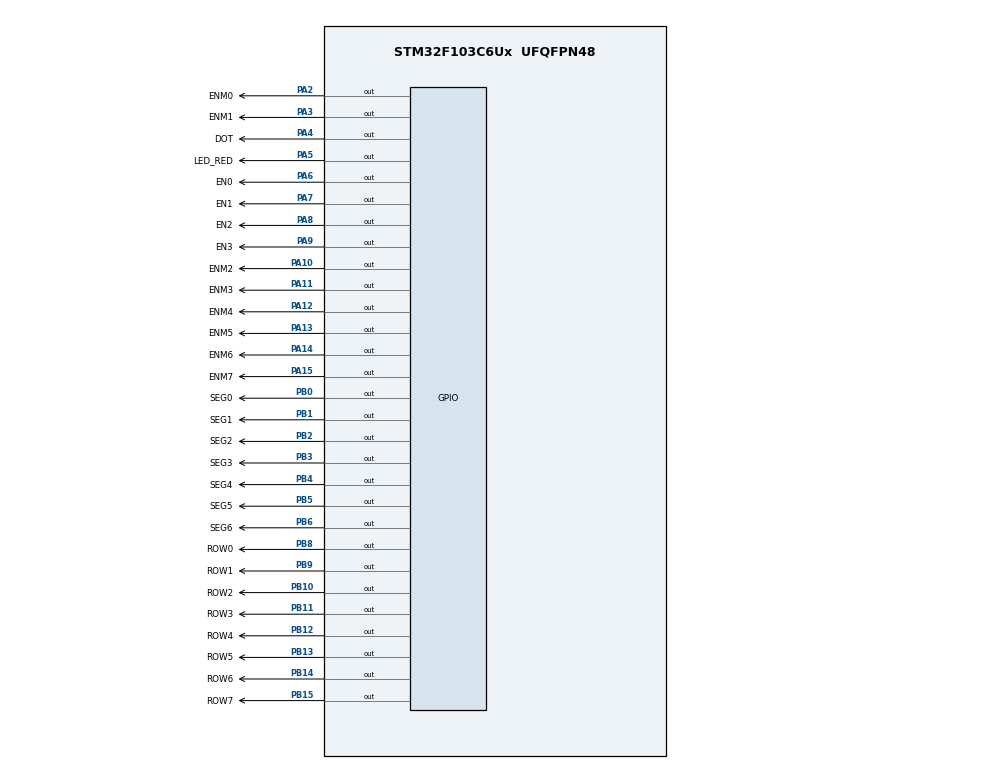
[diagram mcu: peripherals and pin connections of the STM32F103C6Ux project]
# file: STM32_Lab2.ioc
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Mcu.Family=STM32F1
Mcu.Name=STM32F103C6Ux
Mcu.Package=UFQFPN48
NVIC.PriorityGroup=NVIC_PRIORITYGROUP_4
NVIC.TIM2_IRQn=true\:0\:0\:false\:false\:true\:true\:true
PA10.GPIO_Label=ENM2
PA10.Signal=GPIO_Output
PA11.GPIO_Label=ENM3
PA11.Signal=GPIO_Output
PA12.GPIO_Label=ENM4
PA12.Signal=GPIO_Output
PA13.GPIO_Label=ENM5
PA13.Signal=GPIO_Output
PA14.GPIO_Label=ENM6
PA14.Signal=GPIO_Output
PA15.GPIO_Label=ENM7
PA15.Signal=GPIO_Output
PA2.GPIO_Label=ENM0
PA2.Signal=GPIO_Output
PA3.GPIO_Label=ENM1
PA3.Signal=GPIO_Output
PA4.GPIO_Label=DOT
PA4.Signal=GPIO_Output
PA5.GPIO_Label=LED_RED
PA5.Signal=GPIO_Output
PA6.GPIO_Label=EN0
PA6.Signal=GPIO_Output
PA7.GPIO_Label=EN1
PA7.Signal=GPIO_Output
PA8.GPIO_Label=EN2
PA8.Signal=GPIO_Output
PA9.GPIO_Label=EN3
PA9.Signal=GPIO_Output
PB0.GPIO_Label=SEG0
PB0.Signal=GPIO_Output
PB1.GPIO_Label=SEG1
PB1.Signal=GPIO_Output
PB10.GPIO_Label=ROW2
PB10.Signal=GPIO_Output
PB11.GPIO_Label=ROW3
PB11.Signal=GPIO_Output
PB12.GPIO_Label=ROW4
PB12.Signal=GPIO_Output
PB13.GPIO_Label=ROW5
PB13.Signal=GPIO_Output
PB14.GPIO_Label=ROW6
PB14.Signal=GPIO_Output
PB15.GPIO_Label=ROW7
PB15.Signal=GPIO_Output
PB2.GPIO_Label=SEG2
PB2.Signal=GPIO_Output
PB3.GPIO_Label=SEG3
PB3.Signal=GPIO_Output
PB4.GPIO_Label=SEG4
PB4.Signal=GPIO_Output
PB5.GPIO_Label=SEG5
PB5.Signal=GPIO_Output
PB6.GPIO_Label=SEG6
PB6.Signal=GPIO_Output
PB8.GPIO_Label=ROW0
PB8.Signal=GPIO_Output
PB9.GPIO_Label=ROW1
PB9.Signal=GPIO_Output
ProjectManager.HeapSize=0x200
ProjectManager.StackSize=0x400
ProjectManager.TargetToolchain=STM32CubeIDE
RCC.APB1Freq_Value=8000000
RCC.APB2Freq_Value=8000000
TIM2.Period=9
TIM2.Prescaler=7999
VP_SYS_VS_ND.Mode=No_Debug
VP_TIM2_VS_ClockSourceINT.Mode=Internal
board=custom

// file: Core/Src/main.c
/* USER CODE BEGIN Header */
/**
  ******************************************************************************
  * @file           : main.c
  * @brief          : Main program body
  ******************************************************************************
  * @attention
  *
  * <h2><center>&copy; Copyright (c) 2023 STMicroelectronics.
  * All rights reserved.</center></h2>
  *
  * This software component is licensed by ST under BSD 3-Clause license,
  * the "License"; You may not use this file except in compliance with the
  * License. You may obtain a copy of the License at:
  *                        opensource.org/licenses/BSD-3-Clause
  *
  ******************************************************************************
  */
/* USER CODE END Header */
#include "main.h"

/* USER CODE BEGIN Includes */
#include "software_timer.h"
/* USER CODE END Includes */

TIM_HandleTypeDef htim2;

void SystemClock_Config(void);
static void MX_TIM2_Init(void);
static void MX_GPIO_Init(void);
/* USER CODE BEGIN PFP */
void display7SEG(int);

/* USER CODE END PFP */

int main(void)
{
  /* USER CODE BEGIN 1 */
	setTimer(100, 0);
	setTimer(100, 1);
	setTimer(100, 2);
	setTimer(10, 3);
	setTimer(15, 4);
  /* USER CODE END 1 */

  /* MCU Configuration--------------------------------------------------------*/

  /* Reset of all peripherals, Initializes the Flash interface and the Systick. */
  HAL_Init();

  /* Configure the system clock */
  SystemClock_Config();

  /* Initialize all configured peripherals */
  MX_TIM2_Init();
  MX_GPIO_Init();
  /* USER CODE BEGIN 2 */
  HAL_TIM_Base_Start_IT(&htim2);
  const int MAX_LED = 4;
  int index_led = 0;
  int led_buffer[4] = {1 , 5 , 0 , 8};
  void update7SEG(int index)
    {
    	switch(index)
    	{
    	case 0:
    		HAL_GPIO_WritePin(GPIOA, EN0_Pin, RESET);
    		HAL_GPIO_WritePin(GPIOA, EN1_Pin, SET);
    		HAL_GPIO_WritePin(GPIOA, EN2_Pin, SET);
    		HAL_GPIO_WritePin(GPIOA, EN3_Pin, SET);
    		display7SEG(led_buffer[index]);
    		break;
    	case 1:
    		HAL_GPIO_WritePin(GPIOA, EN0_Pin, SET);
    		HAL_GPIO_WritePin(GPIOA, EN1_Pin, RESET);
    		HAL_GPIO_WritePin(GPIOA, EN2_Pin, SET);
    		HAL_GPIO_WritePin(GPIOA, EN3_Pin, SET);
    		display7SEG(led_buffer[index]);
    		break;
    	case 2:
    		HAL_GPIO_WritePin(GPIOA, EN0_Pin, SET);
    		HAL_GPIO_WritePin(GPIOA, EN1_Pin, SET);
    		HAL_GPIO_WritePin(GPIOA, EN2_Pin, RESET);
    		HAL_GPIO_WritePin(GPIOA, EN3_Pin, SET);
    		display7SEG(led_buffer[index]);
    		break;
    	case 3:
    		HAL_GPIO_WritePin(GPIOA, EN0_Pin, SET);
    		HAL_GPIO_WritePin(GPIOA, EN1_Pin, SET);
    		HAL_GPIO_WritePin(GPIOA, EN2_Pin, SET);
    		HAL_GPIO_WritePin(GPIOA, EN3_Pin, RESET);
    		display7SEG(led_buffer[index]);
    		break;
    	default:
    		break;
    	}
    }

  int hour = 15, minute = 8, second = 50;
  void updateClockBuffer()
  {
  	led_buffer[0]=hour/10;
  	led_buffer[1]=hour%10;
  	led_buffer[2]=minute/10;
  	led_buffer[3]=minute%10;
  }
  //LED Matrix
  void clearCols()
  {
	  HAL_GPIO_WritePin(GPIOA, ENM0_Pin, SET);
	  HAL_GPIO_WritePin(GPIOA, ENM1_Pin, SET);
	  HAL_GPIO_WritePin(GPIOA, ENM2_Pin, SET);
	  HAL_GPIO_WritePin(GPIOA, ENM3_Pin, SET);
	  HAL_GPIO_WritePin(GPIOA, ENM4_Pin, SET);
	  HAL_GPIO_WritePin(GPIOA, ENM5_Pin, SET);
	  HAL_GPIO_WritePin(GPIOA, ENM6_Pin, SET);
	  HAL_GPIO_WritePin(GPIOA, ENM7_Pin, SET);
  }
  void clearRows()
  {
	  HAL_GPIO_WritePin(GPIOB, ROW0_Pin, SET);
	  HAL_GPIO_WritePin(GPIOB, ROW1_Pin, SET);
	  HAL_GPIO_WritePin(GPIOB, ROW2_Pin, SET);
	  HAL_GPIO_WritePin(GPIOB, ROW3_Pin, SET);
	  HAL_GPIO_WritePin(GPIOB, ROW4_Pin, SET);
	  HAL_GPIO_WritePin(GPIOB, ROW5_Pin, SET);
	  HAL_GPIO_WritePin(GPIOB, ROW6_Pin, SET);
	  HAL_GPIO_WritePin(GPIOB, ROW7_Pin, SET);
  }
  void display_col(int num)
  {
	  HAL_GPIO_WritePin(GPIOA, ENM0_Pin, (num>>0)&0x01);
	  HAL_GPIO_WritePin(GPIOA, ENM1_Pin, (num>>0)&0x01);
	  HAL_GPIO_WritePin(GPIOA, ENM2_Pin, (num>>0)&0x01);
	  HAL_GPIO_WritePin(GPIOA, ENM3_Pin, (num>>0)&0x01);
	  HAL_GPIO_WritePin(GPIOA, ENM4_Pin, (num>>0)&0x01);
	  HAL_GPIO_WritePin(GPIOA, ENM5_Pin, (num>>0)&0x01);
	  HAL_GPIO_WritePin(GPIOA, ENM6_Pin, (num>>0)&0x01);
	  HAL_GPIO_WritePin(GPIOA, ENM7_Pin, (num>>0)&0x01);
  }
  void display_row(int num)
  {
	  HAL_GPIO_WritePin(GPIOB, ROW0_Pin, (num>>0)&0x01);
	  HAL_GPIO_WritePin(GPIOB, ROW1_Pin, (num>>0)&0x01);
	  HAL_GPIO_WritePin(GPIOB, ROW2_Pin, (num>>0)&0x01);
	  HAL_GPIO_WritePin(GPIOB, ROW3_Pin, (num>>0)&0x01);
	  HAL_GPIO_WritePin(GPIOB, ROW4_Pin, (num>>0)&0x01);
	  HAL_GPIO_WritePin(GPIOB, ROW5_Pin, (num>>0)&0x01);
	  HAL_GPIO_WritePin(GPIOB, ROW6_Pin, (num>>0)&0x01);
	  HAL_GPIO_WritePin(GPIOB, ROW7_Pin, (num>>0)&0x01);
  }
  const int MAX_LED_MATRIX = 8;
  int index_led_matrix = 0;
  uint8_t matrix_buffer[8] = {0x00, 0xFC, 0xFE, 0x33, 0x33, 0xFE, 0xFC, 0x00};
  void updateLEDMatrix(int index)
  {
	  clearCols();
	  clearRows();
	  switch(index)
	  {
	  case 0:
			HAL_GPIO_WritePin(GPIOA, ENM0_Pin, RESET);
			break;
	  case 1:
			HAL_GPIO_WritePin(GPIOA, ENM1_Pin, RESET);
			break;
	  case 2:
			HAL_GPIO_WritePin(GPIOA, ENM2_Pin, RESET);
			break;
	  case 3:
			HAL_GPIO_WritePin(GPIOA, ENM3_Pin, RESET);
			break;
	  case 4:
			HAL_GPIO_WritePin(GPIOA, ENM4_Pin, RESET);
			break;
	  case 5:
			HAL_GPIO_WritePin(GPIOA, ENM5_Pin, RESET);
			break;
	  case 6:
			HAL_GPIO_WritePin(GPIOA, ENM6_Pin, RESET);
			break;
	  case 7:
			HAL_GPIO_WritePin(GPIOA, ENM7_Pin, RESET);
			break;
	  default:
			break;
	  }
	  HAL_GPIO_WritePin(GPIOB, 0xff << 8, SET);
	  HAL_GPIO_WritePin(GPIOB, matrix_buffer[index], SET);
  }
  void shiftLeft()
  {
  	uint8_t temp = matrix_buffer[0];
  	matrix_buffer[0] = matrix_buffer[1];
  	matrix_buffer[1] = matrix_buffer[2];
  	matrix_buffer[2] = matrix_buffer[3];
  	matrix_buffer[3] = matrix_buffer[4];
  	matrix_buffer[4] = matrix_buffer[5];
  	matrix_buffer[5] = matrix_buffer[6];
  	matrix_buffer[6] = matrix_buffer[7];
  	matrix_buffer[7] = matrix_buffer[8];
  	matrix_buffer[8] = temp;
  }
  /* USER CODE END 2 */

  /* Infinite loop */
  /* USER CODE BEGIN WHILE */

  while (1)
  {
	  if (timer_flag[0] == 1)
	  {
		  HAL_GPIO_TogglePin(GPIOA, LED_RED_Pin);
		  setTimer(100, 0);
	  }
	  if (timer_flag[1] == 1)
	  {
		  update7SEG(index_led++);
		  if (index_led > 3) index_led = 0;
		  setTimer(100, 1);
	  }
	  if (timer_flag[2] == 1)
	  {
		  HAL_GPIO_TogglePin(GPIOA, DOT_Pin);
		  setTimer(100, 2);
	  }
	  if (timer_flag[3] == 1)
	  {
		  second++;
		  if(second >= 60){
			  second = 0;
			  minute++;
		  }
		  if(minute >= 60){
			  minute = 0;
			  hour++;
		  }
		  if(hour >= 24) hour = 0;
		  updateClockBuffer();
		  setTimer(10, 3);
	  }
	  if (timer_flag[4] == 1)
	  {
		  updateLEDMatrix(index_led_matrix++);
		  if (index_led_matrix == MAX_LED_MATRIX)
		  {
			  index_led_matrix = 0;
			  shiftLeft();
		  }
		  setTimer(1,4);
	  }
    /* USER CODE END WHILE */

  }
}

void SystemClock_Config(void)
{
  RCC_OscInitTypeDef RCC_OscInitStruct = {0};
  RCC_ClkInitTypeDef RCC_ClkInitStruct = {0};

  /** Initializes the RCC Oscillators according to the specified parameters
  * in the RCC_OscInitTypeDef structure.
  */
  RCC_OscInitStruct.OscillatorType = RCC_OSCILLATORTYPE_HSI;
  RCC_OscInitStruct.HSIState = RCC_HSI_ON;
  RCC_OscInitStruct.HSICalibrationValue = RCC_HSICALIBRATION_DEFAULT;
  RCC_OscInitStruct.PLL.PLLState = RCC_PLL_NONE;
  if (HAL_RCC_OscConfig(&RCC_OscInitStruct) != HAL_OK)
  {
    Error_Handler();
  }
  /** Initializes the CPU, AHB and APB buses clocks
  */
  RCC_ClkInitStruct.ClockType = RCC_CLOCKTYPE_HCLK|RCC_CLOCKTYPE_SYSCLK
                              |RCC_CLOCKTYPE_PCLK1|RCC_CLOCKTYPE_PCLK2;
  RCC_ClkInitStruct.SYSCLKSource = RCC_SYSCLKSOURCE_HSI;
  RCC_ClkInitStruct.AHBCLKDivider = RCC_SYSCLK_DIV1;
  RCC_ClkInitStruct.APB1CLKDivider = RCC_HCLK_DIV1;
  RCC_ClkInitStruct.APB2CLKDivider = RCC_HCLK_DIV1;

  if (HAL_RCC_ClockConfig(&RCC_ClkInitStruct, FLASH_LATENCY_0) != HAL_OK)
  {
    Error_Handler();
  }
}

static void MX_TIM2_Init(void)
{

  TIM_ClockConfigTypeDef sClockSourceConfig = {0};
  TIM_MasterConfigTypeDef sMasterConfig = {0};

  htim2.Instance = TIM2;
  htim2.Init.Prescaler = 7999;
  htim2.Init.CounterMode = TIM_COUNTERMODE_UP;
  htim2.Init.Period = 9;
  htim2.Init.ClockDivision = TIM_CLOCKDIVISION_DIV1;
  htim2.Init.AutoReloadPreload = TIM_AUTORELOAD_PRELOAD_DISABLE;
  if (HAL_TIM_Base_Init(&htim2) != HAL_OK)
  {
    Error_Handler();
  }
  sClockSourceConfig.ClockSource = TIM_CLOCKSOURCE_INTERNAL;
  if (HAL_TIM_ConfigClockSource(&htim2, &sClockSourceConfig) != HAL_OK)
  {
    Error_Handler();
  }
  sMasterConfig.MasterOutputTrigger = TIM_TRGO_RESET;
  sMasterConfig.MasterSlaveMode = TIM_MASTERSLAVEMODE_DISABLE;
  if (HAL_TIMEx_MasterConfigSynchronization(&htim2, &sMasterConfig) != HAL_OK)
  {
    Error_Handler();
  }

}

static void MX_GPIO_Init(void)
{
  GPIO_InitTypeDef GPIO_InitStruct = {0};

  /* GPIO Ports Clock Enable */
  __HAL_RCC_GPIOA_CLK_ENABLE();
  __HAL_RCC_GPIOB_CLK_ENABLE();

  /*Configure GPIO pin Output Level */
  HAL_GPIO_WritePin(GPIOA, DOT_Pin|LED_RED_Pin|EN0_Pin|EN1_Pin
                          |EN2_Pin|EN3_Pin, GPIO_PIN_RESET);

  /*Configure GPIO pin Output Level */
  HAL_GPIO_WritePin(GPIOB, SEG0_Pin|SEG1_Pin|SEG2_Pin|SEG3_Pin
                          |SEG4_Pin|SEG5_Pin|SEG6_Pin, GPIO_PIN_RESET);

  /*Configure GPIO pins : DOT_Pin LED_RED_Pin EN0_Pin EN1_Pin
                           EN2_Pin EN3_Pin */
  GPIO_InitStruct.Pin = DOT_Pin|LED_RED_Pin|EN0_Pin|EN1_Pin
                          |EN2_Pin|EN3_Pin;
  GPIO_InitStruct.Mode = GPIO_MODE_OUTPUT_PP;
  GPIO_InitStruct.Pull = GPIO_NOPULL;
  GPIO_InitStruct.Speed = GPIO_SPEED_FREQ_LOW;
  HAL_GPIO_Init(GPIOA, &GPIO_InitStruct);

  /*Configure GPIO pins : SEG0_Pin SEG1_Pin SEG2_Pin SEG3_Pin
                           SEG4_Pin SEG5_Pin SEG6_Pin */
  GPIO_InitStruct.Pin = SEG0_Pin|SEG1_Pin|SEG2_Pin|SEG3_Pin
                          |SEG4_Pin|SEG5_Pin|SEG6_Pin;
  GPIO_InitStruct.Mode = GPIO_MODE_OUTPUT_PP;
  GPIO_InitStruct.Pull = GPIO_NOPULL;
  GPIO_InitStruct.Speed = GPIO_SPEED_FREQ_LOW;
  HAL_GPIO_Init(GPIOB, &GPIO_InitStruct);

}

/* USER CODE BEGIN 4 */
void HAL_TIM_PeriodElapsedCallback(TIM_HandleTypeDef *htim)
{
	timerRun(0); // LED_RED
	timerRun(1); // 7-segment
	timerRun(2); // DOT
	timerRun(3); //clock display
	timerRun(4); //LED matrix
}

void display7SEG(int counter)
{
	if (counter == 0)
	{
		HAL_GPIO_WritePin(SEG0_GPIO_Port, SEG0_Pin, GPIO_PIN_RESET);
		HAL_GPIO_WritePin(SEG1_GPIO_Port, SEG1_Pin, GPIO_PIN_RESET);
		HAL_GPIO_WritePin(SEG2_GPIO_Port, SEG2_Pin, GPIO_PIN_RESET);
		HAL_GPIO_WritePin(SEG3_GPIO_Port, SEG3_Pin, GPIO_PIN_RESET);
		HAL_GPIO_WritePin(SEG4_GPIO_Port, SEG4_Pin, GPIO_PIN_RESET);
		HAL_GPIO_WritePin(SEG5_GPIO_Port, SEG5_Pin, GPIO_PIN_RESET);
		HAL_GPIO_WritePin(SEG6_GPIO_Port, SEG6_Pin, GPIO_PIN_SET);
	}
	else if (counter == 1)
	{
		HAL_GPIO_WritePin(SEG0_GPIO_Port, SEG0_Pin, GPIO_PIN_SET);
		HAL_GPIO_WritePin(SEG1_GPIO_Port, SEG1_Pin, GPIO_PIN_RESET);
		HAL_GPIO_WritePin(SEG2_GPIO_Port, SEG2_Pin, GPIO_PIN_RESET);
		HAL_GPIO_WritePin(SEG3_GPIO_Port, SEG3_Pin, GPIO_PIN_SET);
		HAL_GPIO_WritePin(SEG4_GPIO_Port, SEG4_Pin, GPIO_PIN_SET);
		HAL_GPIO_WritePin(SEG5_GPIO_Port, SEG5_Pin, GPIO_PIN_SET);
		HAL_GPIO_WritePin(SEG6_GPIO_Port, SEG6_Pin, GPIO_PIN_SET);
	}
	else if (counter == 2)
	{
		HAL_GPIO_WritePin(SEG0_GPIO_Port, SEG0_Pin, GPIO_PIN_RESET);
		HAL_GPIO_WritePin(SEG1_GPIO_Port, SEG1_Pin, GPIO_PIN_RESET);
		HAL_GPIO_WritePin(SEG2_GPIO_Port, SEG2_Pin, GPIO_PIN_SET);
		HAL_GPIO_WritePin(SEG3_GPIO_Port, SEG3_Pin, GPIO_PIN_RESET);
		HAL_GPIO_WritePin(SEG4_GPIO_Port, SEG4_Pin, GPIO_PIN_RESET);
		HAL_GPIO_WritePin(SEG5_GPIO_Port, SEG5_Pin, GPIO_PIN_SET);
		HAL_GPIO_WritePin(SEG6_GPIO_Port, SEG6_Pin, GPIO_PIN_RESET);
	}
	else if (counter == 3)
	{
		HAL_GPIO_WritePin(SEG0_GPIO_Port, SEG0_Pin, GPIO_PIN_RESET);
		HAL_GPIO_WritePin(SEG1_GPIO_Port, SEG1_Pin, GPIO_PIN_RESET);
		HAL_GPIO_WritePin(SEG2_GPIO_Port, SEG2_Pin, GPIO_PIN_RESET);
		HAL_GPIO_WritePin(SEG3_GPIO_Port, SEG3_Pin, GPIO_PIN_RESET);
		HAL_GPIO_WritePin(SEG4_GPIO_Port, SEG4_Pin, GPIO_PIN_SET);
		HAL_GPIO_WritePin(SEG5_GPIO_Port, SEG5_Pin, GPIO_PIN_SET);
		HAL_GPIO_WritePin(SEG6_GPIO_Port, SEG6_Pin, GPIO_PIN_RESET);
	}
	else if (counter == 4)
	{
		HAL_GPIO_WritePin(SEG0_GPIO_Port, SEG0_Pin, GPIO_PIN_SET);
		HAL_GPIO_WritePin(SEG1_GPIO_Port, SEG1_Pin, GPIO_PIN_RESET);
		HAL_GPIO_WritePin(SEG2_GPIO_Port, SEG2_Pin, GPIO_PIN_RESET);
		HAL_GPIO_WritePin(SEG3_GPIO_Port, SEG3_Pin, GPIO_PIN_SET);
		HAL_GPIO_WritePin(SEG4_GPIO_Port, SEG4_Pin, GPIO_PIN_SET);
		HAL_GPIO_WritePin(SEG5_GPIO_Port, SEG5_Pin, GPIO_PIN_RESET);
		HAL_GPIO_WritePin(SEG6_GPIO_Port, SEG6_Pin, GPIO_PIN_RESET);
	}
	else if (counter == 5)
	{
		HAL_GPIO_WritePin(SEG0_GPIO_Port, SEG0_Pin, GPIO_PIN_RESET);
		HAL_GPIO_WritePin(SEG1_GPIO_Port, SEG1_Pin, GPIO_PIN_SET);
		HAL_GPIO_WritePin(SEG2_GPIO_Port, SEG2_Pin, GPIO_PIN_RESET);
		HAL_GPIO_WritePin(SEG3_GPIO_Port, SEG3_Pin, GPIO_PIN_RESET);
		HAL_GPIO_WritePin(SEG4_GPIO_Port, SEG4_Pin, GPIO_PIN_SET);
		HAL_GPIO_WritePin(SEG5_GPIO_Port, SEG5_Pin, GPIO_PIN_RESET);
		HAL_GPIO_WritePin(SEG6_GPIO_Port, SEG6_Pin, GPIO_PIN_RESET);
	}
	else if (counter == 6)
	{
		HAL_GPIO_WritePin(SEG0_GPIO_Port, SEG0_Pin, GPIO_PIN_RESET);
		HAL_GPIO_WritePin(SEG1_GPIO_Port, SEG1_Pin, GPIO_PIN_SET);
		HAL_GPIO_WritePin(SEG2_GPIO_Port, SEG2_Pin, GPIO_PIN_RESET);
		HAL_GPIO_WritePin(SEG3_GPIO_Port, SEG3_Pin, GPIO_PIN_RESET);
		HAL_GPIO_WritePin(SEG4_GPIO_Port, SEG4_Pin, GPIO_PIN_RESET);
		HAL_GPIO_WritePin(SEG5_GPIO_Port, SEG5_Pin, GPIO_PIN_RESET);
		HAL_GPIO_WritePin(SEG6_GPIO_Port, SEG6_Pin, GPIO_PIN_RESET);
	}
	else if (counter == 7)
	{
		HAL_GPIO_WritePin(SEG0_GPIO_Port, SEG0_Pin, GPIO_PIN_RESET);
		HAL_GPIO_WritePin(SEG1_GPIO_Port, SEG1_Pin, GPIO_PIN_RESET);
		HAL_GPIO_WritePin(SEG2_GPIO_Port, SEG2_Pin, GPIO_PIN_RESET);
		HAL_GPIO_WritePin(SEG3_GPIO_Port, SEG3_Pin, GPIO_PIN_SET);
		HAL_GPIO_WritePin(SEG4_GPIO_Port, SEG4_Pin, GPIO_PIN_SET);
		HAL_GPIO_WritePin(SEG5_GPIO_Port, SEG5_Pin, GPIO_PIN_SET);
		HAL_GPIO_WritePin(SEG6_GPIO_Port, SEG6_Pin, GPIO_PIN_SET);
	}
	else if (counter == 8)
	{
		HAL_GPIO_WritePin(SEG0_GPIO_Port, SEG0_Pin, GPIO_PIN_RESET);
		HAL_GPIO_WritePin(SEG1_GPIO_Port, SEG1_Pin, GPIO_PIN_RESET);
		HAL_GPIO_WritePin(SEG2_GPIO_Port, SEG2_Pin, GPIO_PIN_RESET);
		HAL_GPIO_WritePin(SEG3_GPIO_Port, SEG3_Pin, GPIO_PIN_RESET);
		HAL_GPIO_WritePin(SEG4_GPIO_Port, SEG4_Pin, GPIO_PIN_RESET);
		HAL_GPIO_WritePin(SEG5_GPIO_Port, SEG5_Pin, GPIO_PIN_RESET);
		HAL_GPIO_WritePin(SEG6_GPIO_Port, SEG6_Pin, GPIO_PIN_RESET);
	}
	else if (counter == 9)
	{
		HAL_GPIO_WritePin(SEG0_GPIO_Port, SEG0_Pin, GPIO_PIN_RESET);
		HAL_GPIO_WritePin(SEG1_GPIO_Port, SEG1_Pin, GPIO_PIN_RESET);
		HAL_GPIO_WritePin(SEG2_GPIO_Port, SEG2_Pin, GPIO_PIN_RESET);
		HAL_GPIO_WritePin(SEG3_GPIO_Port, SEG3_Pin, GPIO_PIN_RESET);
		HAL_GPIO_WritePin(SEG4_GPIO_Port, SEG4_Pin, GPIO_PIN_SET);
		HAL_GPIO_WritePin(SEG5_GPIO_Port, SEG5_Pin, GPIO_PIN_RESET);
		HAL_GPIO_WritePin(SEG6_GPIO_Port, SEG6_Pin, GPIO_PIN_RESET);
	}
}
/* USER CODE END 4 */

void Error_Handler(void)
{
  __disable_irq();
  while (1)
  {
  }
}

/************************ (C) COPYRIGHT STMicroelectronics *****END OF FILE****/
